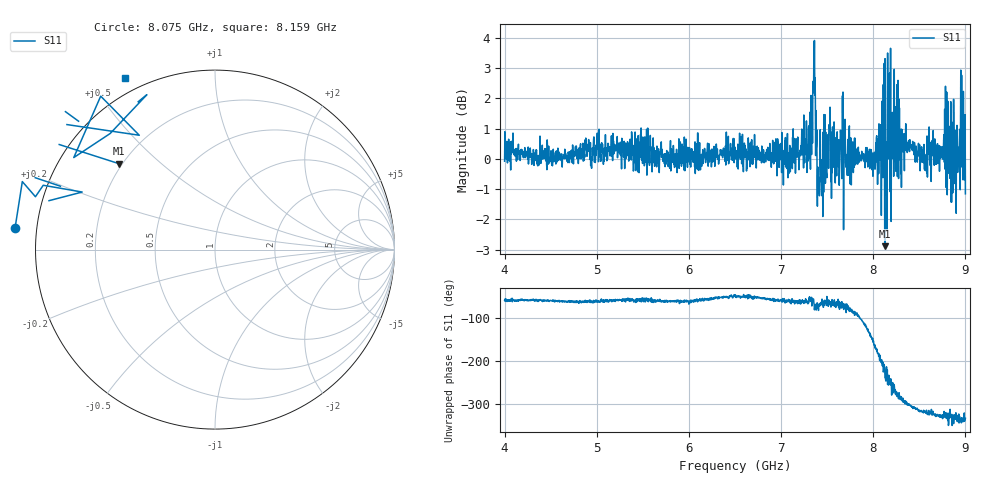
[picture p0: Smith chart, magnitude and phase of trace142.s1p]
! Created with skrf 1.8.0 (http://scikit-rf.org).
# Hz S RI R 50.0
!freq ReS11 ImS11
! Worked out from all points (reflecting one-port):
!   1601 points, 4 GHz to 9 GHz, reference 50 ohm
!   lowest |S11| = -2.9 dB at 8.125 GHz (marker M1), VSWR 6.07, Z = 9.4 + j18.5 ohm
!   phase of S11 starts at -57 deg and turns -276 deg over the sweep
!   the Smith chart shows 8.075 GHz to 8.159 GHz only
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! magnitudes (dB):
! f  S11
! 4 GHz  -0.1
! 4.625 GHz  -0.3
! 5.25 GHz  0.2
! 5.875 GHz  0.0
! 6.5 GHz  0.4
! 7.125 GHz  0.7
! 7.306 GHz  0.0
! 7.347 GHz  2.6
! 7.366 GHz  2.1
! 7.397 GHz  -0.3
! 7.416 GHz  -1.2
! 7.525 GHz  1.0
! 7.612 GHz  -0.1
! 7.669 GHz  0.9
! 7.75 GHz  0.3
! 8 GHz  -0.4
! 8.066 GHz  0.8
! 8.097 GHz  0.6
! 8.125 GHz  -2.9
! 8.178 GHz  2.8
! 8.216 GHz  1.1
! 8.375 GHz  0.3
! 8.556 GHz  -0.4
! 8.788 GHz  0.3
! 8.844 GHz  -1.4
! 8.919 GHz  -0.2
! 8.972 GHz  0.7
! 9 GHz  -1.2
